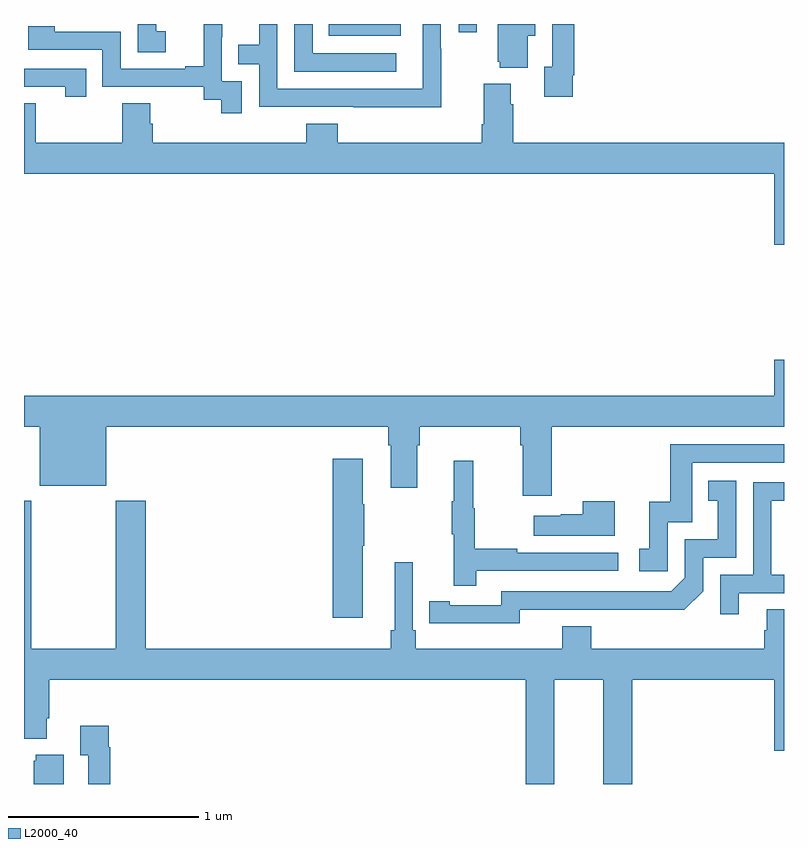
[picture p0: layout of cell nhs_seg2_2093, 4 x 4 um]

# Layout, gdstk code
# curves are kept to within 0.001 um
import gdstk
lib = gdstk.Library(unit=1e-6, precision=1e-09)
def R(c, l, rs):  # rectangles x0, y0, x1, y1
    for r in rs: c.add(gdstk.rectangle(r[:2], r[2:], *l))
def P(c, l, *ps):  # polygons
    for p in ps: c.add(gdstk.Polygon(p, *l))
L2000_40 = (2000, 40)

nhs_seg2_2093 = lib.new_cell('nhs_seg2_2093')
R(nhs_seg2_2093, L2000_40, [(222.604,605.738,222.982,605.8), (223.287,605.757,223.383,605.8)])
P(nhs_seg2_2093, L2000_40, [(222.958,605.646),(222.519,605.646),(222.519,605.8),(222.423,605.8),(222.423,605.55),(222.958,605.55)],
  [(221.746,605.761),(221.697,605.761),(221.697,605.8),(221.598,605.8),(221.598,605.652),(221.746,605.652)],
  [(223.888,605.53),(223.895,605.53),(223.895,605.8),(223.779,605.8),(223.779,605.574),(223.739,605.574),(223.739,605.418),(223.888,605.418)],
  [(223.197,605.669),(223.194,605.669),(223.194,605.8),(223.098,605.8),(223.098,605.46),(222.333,605.46),(222.333,605.8),(222.237,605.8),(222.237,605.69),(222.127,605.69),(222.127,605.589),(222.237,605.589),(222.237,605.364),(222.733,605.364),(222.733,605.363),(223.197,605.363)],
  [(223.651,605.738),(223.69,605.738),(223.69,605.8),(223.493,605.8),(223.493,605.601),(223.505,605.601),(223.505,605.57),(223.651,605.57)],
  [(222.147,605.499),(222.042,605.499),(222.042,605.729),(222.044,605.729),(222.044,605.8),(221.945,605.8),(221.945,605.578),(221.849,605.578),(221.849,605.565),(221.508,605.565),(221.508,605.76),(221.163,605.76),(221.163,605.787),(221.023,605.787),(221.023,605.664),(221.412,605.664),(221.412,605.469),(221.946,605.469),(221.946,605.401),(222.039,605.401),(222.039,605.331),(222.147,605.331)],
  [(221.327,605.565),(221,605.565),(221,605.469),(221.216,605.469),(221.216,605.418),(221.327,605.418)],
  [(225,605.176),(223.574,605.176),(223.574,605.378),(223.561,605.378),(223.561,605.485),(223.421,605.485),(223.421,605.272),(223.409,605.272),(223.409,605.176),(222.65,605.176),(222.65,605.275),(222.485,605.275),(222.485,605.176),(221.678,605.176),(221.678,605.274),(221.665,605.274),(221.665,605.384),(221.518,605.384),(221.518,605.176),(221.061,605.176),(221.061,605.384),(221,605.384),(221,605.012),(224.948,605.012),(224.948,604.638),(225,604.638)],
  [(221,603.68),(221.084,603.68),(221.084,603.371),(221.434,603.371),(221.434,603.68),(222.917,603.68),(222.917,603.584),(222.929,603.584),(222.929,603.36),(223.069,603.36),(223.069,603.584),(223.082,603.584),(223.082,603.68),(223.613,603.68),(223.613,603.584),(223.625,603.584),(223.625,603.318),(223.778,603.318),(223.778,603.68),(225,603.68),(225,604.033),(224.948,604.033),(224.948,603.844),(221,603.844)],
  [(224.388,603.177),(224.517,603.177),(224.517,603.492),(225,603.492),(225,603.588),(224.401,603.588),(224.401,603.286),(224.291,603.286),(224.291,603.039),(224.238,603.039),(224.238,602.919),(224.388,602.919)],
  [(222.784,603.055),(222.792,603.055),(222.792,603.272),(222.784,603.272),(222.784,603.511),(222.626,603.511),(222.626,602.676),(222.784,602.676)],
  [(223.379,602.922),(224.128,602.922),(224.128,603.018),(223.595,603.018),(223.595,603.038),(223.372,603.038),(223.372,603.252),(223.364,603.252),(223.364,603.502),(223.262,603.502),(223.262,603.289),(223.251,603.289),(223.251,603.115),(223.262,603.115),(223.262,602.844),(223.379,602.844)],
  [(223.608,602.718),(224.476,602.717),(224.574,602.814),(224.574,602.991),(224.748,602.991),(224.748,603.397),(224.602,603.397),(224.602,603.291),(224.651,603.291),(224.651,603.087),(224.478,603.087),(224.478,602.886),(224.406,602.814),(223.512,602.814),(223.512,602.742),(223.24,602.742),(223.24,602.762),(223.132,602.762),(223.132,602.646),(223.608,602.645)],
  [(224.761,602.805),(225,602.805),(225,602.901),(224.934,602.901),(224.934,603.29),(225,603.29),(225,603.387),(224.838,603.387),(224.838,602.901),(224.664,602.901),(224.664,602.694),(224.761,602.694)],
  [(224.909,602.61),(224.897,602.61),(224.897,602.512),(223.985,602.512),(223.985,602.629),(223.832,602.629),(223.832,602.512),(223.061,602.512),(223.061,602.608),(223.047,602.608),(223.047,602.968),(222.95,602.968),(222.95,602.608),(222.931,602.608),(222.931,602.512),(221.642,602.512),(221.642,603.292),(221.482,603.292),(221.482,602.512),(221.037,602.512),(221.037,603.292),(221,603.292),(221,602.039),(221.119,602.039),(221.119,602.146),(221.132,602.146),(221.132,602.348),(223.64,602.348),(223.64,601.8),(223.792,601.8),(223.792,602.348),(224.048,602.348),(224.048,601.8),(224.201,601.8),(224.201,602.348),(224.948,602.348),(224.948,601.974),(225,601.974),(225,602.72),(224.909,602.72)],
  [(224.11,603.289),(223.94,603.289),(223.94,603.221),(223.826,603.221),(223.826,603.211),(223.683,603.211),(223.683,603.107),(224.11,603.107)],
  [(221.453,601.994),(221.446,601.994),(221.446,602.107),(221.297,602.107),(221.297,601.951),(221.337,601.951),(221.337,601.8),(221.453,601.8)],
  [(221.209,601.954),(221.063,601.954),(221.063,601.923),(221.051,601.923),(221.051,601.8),(221.209,601.8)])

lib.write_gds('nhs_seg2_2093.gds')
